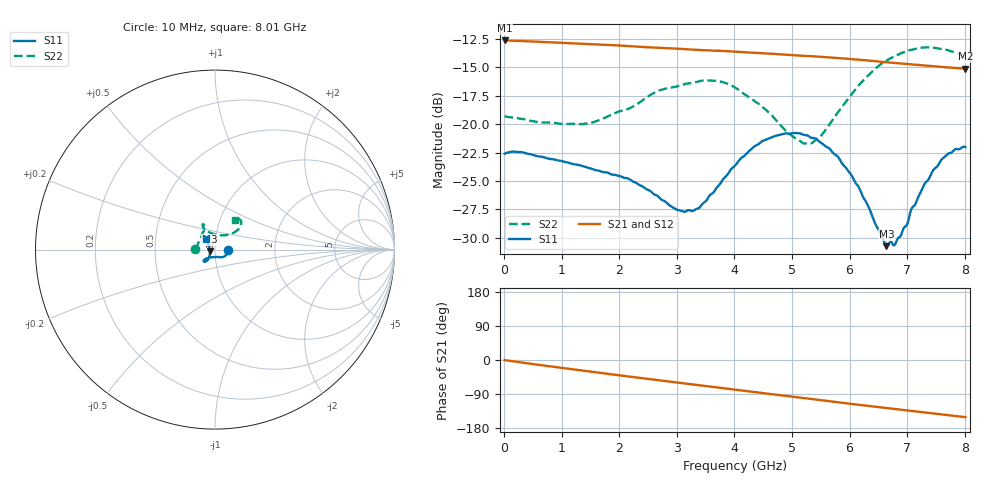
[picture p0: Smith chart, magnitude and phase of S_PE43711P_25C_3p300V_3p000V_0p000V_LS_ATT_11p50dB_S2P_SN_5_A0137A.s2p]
! Device ID: PE43711P
! File Path: z:\PE43711P\CHAR_NOM_04282014\AMB\3p300\LS_ATT_11p50dB\PE43711P_AMB_3p300V_3p000V_0p000V_LS_ATT_11p50dB_S2P_SN_5_A0137A.s2p
! Serial: 5
! Lot: A0137A
! Temp: 25C
! VDD: 3.300
! VSS: 0.000
! Control_Hi: 3.000
! Control_Lo: 0.000
! Attenuation Step: 11.50dB
! Port 1: RF1
! Port 2: RF2
! ThroughPath:1-2
! IDD: 0.0001280472
! ISS: -1.295e-007
#  Hz  S  RI  R  50
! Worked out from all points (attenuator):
!   801 points, 10 MHz to 8.01 GHz, reference 50 ohm
!   highest |S21| = -12.63 dB at 10 MHz (marker M1); lowest = -15.1 dB at 8.01 GHz (marker M2)
!   lowest |S11| = -30.7 dB at 6.64 GHz (marker M3), VSWR 1.06, Z = 47.3 - j0.846 ohm
!   |S11| at or under -10 dB: start of sweep to end of sweep
!   |S22| runs from -21.7 to -13.2 dB; largest |S21 - S12| = 0.00048
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1e7  0.0742 -7.84e-05  0.2336 -0.00111  0.2338 -0.00124  -0.1087 0.000873
3.1e8  0.0744 -0.0118  0.2307 -0.0274  0.2309 -0.0274  -0.1049 0.01
1.35e9  0.054 -0.0372  0.2003 -0.1049  0.2005 -0.105  -0.0854 0.052
2.15e9  0.0382 -0.0433  0.1607 -0.1514  0.1609 -0.1514  -0.0664 0.0958
2.68e9  0.0239 -0.0416  0.1297 -0.1738  0.1298 -0.1739  -0.0607 0.1266
3.01e9  0.00997 -0.0408  0.109 -0.1852  0.1091 -0.1853  -0.0606 0.1338
3.3e9  -0.00458 -0.0416  0.0901 -0.1927  0.0902 -0.1928  -0.0627 0.1397
3.68e9  -0.027 -0.0446  0.0651 -0.2002  0.0651 -0.2002  -0.0678 0.1395
4.01e9  -0.0445 -0.0485  0.0426 -0.2042  0.0425 -0.2043  -0.0685 0.1279
4.34e9  -0.0579 -0.0547  0.0201 -0.2052  0.0201 -0.2053  -0.056 0.114
4.69e9  -0.0633 -0.0617  -0.0033 -0.2037  -0.00341 -0.2037  -0.0372 0.0997
5.04e9  -0.0622 -0.0671  -0.0259 -0.1995  -0.0261 -0.1994  -0.00782 0.087
5.35e9  -0.0562 -0.0665  -0.0453 -0.1938  -0.0453 -0.194  0.024 0.0792
5.65e9  -0.0469 -0.0625  -0.0635 -0.1864  -0.0635 -0.1865  0.0591 0.0802
6.01e9  -0.0357 -0.0491  -0.0834 -0.1748  -0.0837 -0.1748  0.0971 0.091
6.64e9  -0.0277 -0.00894  -0.1128 -0.1494  -0.1129 -0.1497  0.1403 0.1284
6.68e9  -0.0292 -0.0056  -0.1144 -0.1479  -0.1144 -0.148  0.1414 0.1318
6.78e9  -0.0294 0.000508  -0.1183 -0.1435  -0.1183 -0.1436  0.1443 0.1381
6.88e9  -0.0312 0.00769  -0.1219 -0.139  -0.1219 -0.1391  0.1456 0.1438
7.46e9  -0.0447 0.0447  -0.1405 -0.1122  -0.1405 -0.1123  0.1338 0.1707
7.7e9  -0.0498 0.0543  -0.1464 -0.1008  -0.1464 -0.1006  0.122 0.1732
8.01e9  -0.0513 0.0606  -0.1533 -0.0859  -0.1535 -0.0854  0.1097 0.1638
